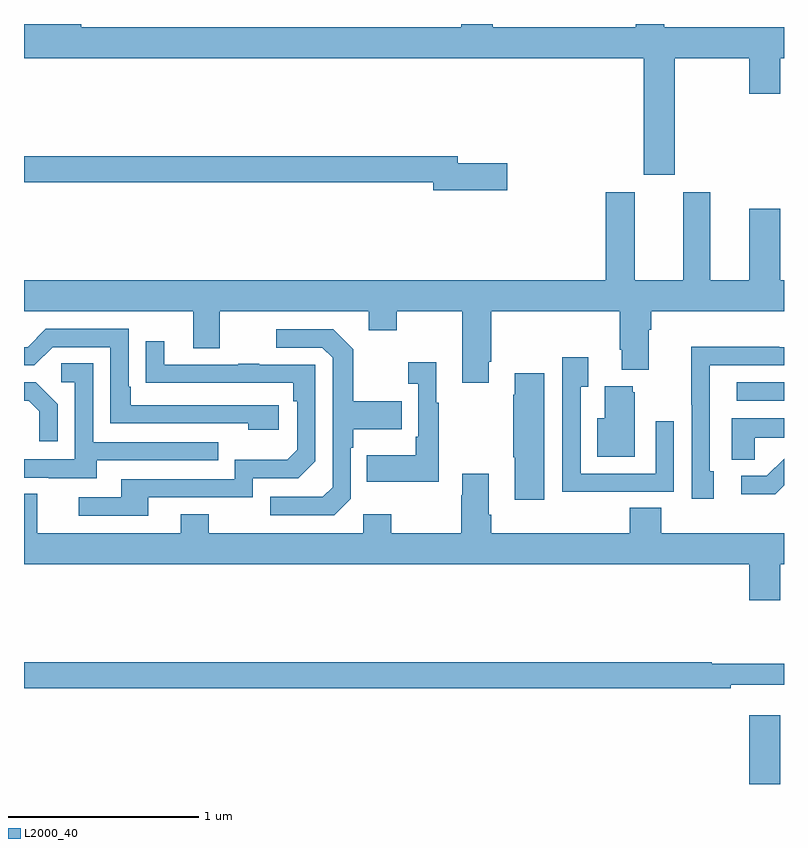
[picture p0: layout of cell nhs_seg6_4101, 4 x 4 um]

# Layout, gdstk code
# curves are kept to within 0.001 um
import gdstk
lib = gdstk.Library(unit=1e-6, precision=1e-09)
def R(c, l, rs):  # rectangles x0, y0, x1, y1
    for r in rs: c.add(gdstk.rectangle(r[:2], r[2:], *l))
def P(c, l, *ps):  # polygons
    for p in ps: c.add(gdstk.Polygon(p, *l))
L2000_40 = (2000, 40)

nhs_seg6_4101 = lib.new_cell('nhs_seg6_4101')
R(nhs_seg6_4101, L2000_40, [(356.816,959.5,356.98,959.863), (356.751,961.518,357,961.614)])
P(nhs_seg6_4101, L2000_40, [(356.425,963.32),(356.816,963.32),(356.816,963.132),(356.98,963.132),(356.98,963.32),(357,963.32),(357,963.484),(356.371,963.484),(356.371,963.5),(356.219,963.5),(356.219,963.484),(355.466,963.484),(355.466,963.5),(355.301,963.5),(355.301,963.484),(353.302,963.484),(353.302,963.5),(353,963.5),(353,963.32),(356.261,963.32),(356.261,962.706),(356.425,962.706)],
  [(355.543,962.768),(355.282,962.768),(355.282,962.804),(353,962.804),(353,962.668),(355.154,962.668),(355.154,962.626),(355.543,962.626)],
  [(353,961.988),(353.891,961.988),(353.891,961.794),(354.031,961.794),(354.031,961.988),(354.815,961.988),(354.815,961.889),(354.963,961.889),(354.963,961.988),(355.307,961.988),(355.307,961.611),(355.447,961.611),(355.447,961.723),(355.46,961.723),(355.46,961.988),(356.135,961.988),(356.135,961.786),(356.147,961.786),(356.147,961.679),(356.287,961.679),(356.287,961.892),(356.3,961.892),(356.3,961.988),(357,961.988),(357,962.152),(356.98,962.152),(356.98,962.527),(356.816,962.527),(356.816,962.152),(356.611,962.152),(356.611,962.614),(356.471,962.614),(356.471,962.152),(356.215,962.152),(356.215,962.614),(356.063,962.614),(356.063,962.152),(353,962.152)],
  [(354.34,961.494),(353.563,961.494),(353.563,961.591),(353.55,961.591),(353.55,961.896),(353.115,961.896),(353.019,961.8),(353,961.8),(353,961.704),(353.055,961.704),(353.151,961.8),(353.454,961.8),(353.454,961.398),(354.179,961.398),(354.179,961.364),(354.34,961.364)],
  [(354.72,961.002),(354.72,961.271),(354.733,961.271),(354.733,961.367),(354.989,961.367),(354.989,961.515),(354.733,961.515),(354.733,961.787),(354.627,961.893),(354.327,961.893),(354.327,961.797),(354.57,961.797),(354.624,961.743),(354.624,961.062),(354.573,961.011),(354.297,961.011),(354.297,960.915),(354.633,960.915)],
  [(353.653,961.008),(354.204,961.008),(354.204,961.11),(354.444,961.11),(354.534,961.2),(354.534,961.707),(354.239,961.707),(354.239,961.712),(354.127,961.712),(354.127,961.707),(353.737,961.707),(353.737,961.831),(353.641,961.831),(353.641,961.612),(354.418,961.611),(354.418,961.514),(354.438,961.514),(354.438,961.26),(354.385,961.207),(354.108,961.207),(354.108,961.104),(353.513,961.104),(353.513,961.008),(353.289,961.008),(353.289,960.912),(353.653,960.912)],
  [(356.629,961.146),(356.61,961.146),(356.61,961.704),(357,961.704),(357,961.8),(356.975,961.8),(356.975,961.802),(356.512,961.802),(356.512,961.495),(356.514,961.495),(356.514,961.002),(356.629,961.002)],
  [(356.105,961.038),(356.421,961.038),(356.421,961.408),(356.325,961.408),(356.325,961.134),(355.929,961.134),(355.929,961.591),(355.969,961.591),(355.969,961.747),(355.833,961.747),(355.833,961.037),(356.105,961.037)],
  [(355.183,961.507),(355.171,961.507),(355.171,961.72),(355.023,961.72),(355.023,961.607),(355.074,961.607),(355.074,961.327),(355.062,961.327),(355.062,961.231),(354.805,961.231),(354.805,961.091),(355.183,961.091)],
  [(353.383,961.203),(354.023,961.203),(354.023,961.299),(353.364,961.299),(353.364,961.715),(353.196,961.715),(353.196,961.614),(353.268,961.614),(353.268,961.209),(353,961.209),(353,961.113),(353.129,961.113),(353.129,961.109),(353.383,961.109)],
  [(355.738,961.663),(355.583,961.663),(355.583,961.55),(355.576,961.55),(355.576,961.219),(355.583,961.219),(355.583,960.996),(355.738,960.996)],
  [(353.178,961.498),(353.062,961.614),(353,961.614),(353,961.518),(353.024,961.518),(353.081,961.461),(353.081,961.305),(353.178,961.305)],
  [(356.215,961.563),(356.204,961.563),(356.204,961.594),(356.057,961.594),(356.057,961.426),(356.018,961.426),(356.018,961.223),(356.215,961.223)],
  [(356.847,961.322),(357,961.322),(357,961.426),(356.726,961.426),(356.726,961.207),(356.847,961.207)],
  [(357,961.072),(357,961.213),(356.909,961.122),(356.775,961.122),(356.775,961.025),(356.953,961.025)],
  [(356.98,960.656),(357,960.656),(357,960.82),(356.354,960.82),(356.354,960.953),(356.189,960.953),(356.189,960.82),(355.46,960.82),(355.46,960.916),(355.447,960.916),(355.447,961.132),(355.307,961.132),(355.307,961.019),(355.3,961.019),(355.3,960.82),(354.933,960.82),(354.933,960.919),(354.786,960.919),(354.786,960.82),(353.973,960.82),(353.973,960.919),(353.825,960.919),(353.825,960.82),(353.071,960.82),(353.071,961.028),(353,961.028),(353,960.656),(356.816,960.656),(356.816,960.468),(356.98,960.468)],
  [(356.72,960.023),(357,960.023),(357,960.133),(356.62,960.133),(356.62,960.14),(353,960.14),(353,960.004),(356.72,960.004)])

lib.write_gds('nhs_seg6_4101.gds')
